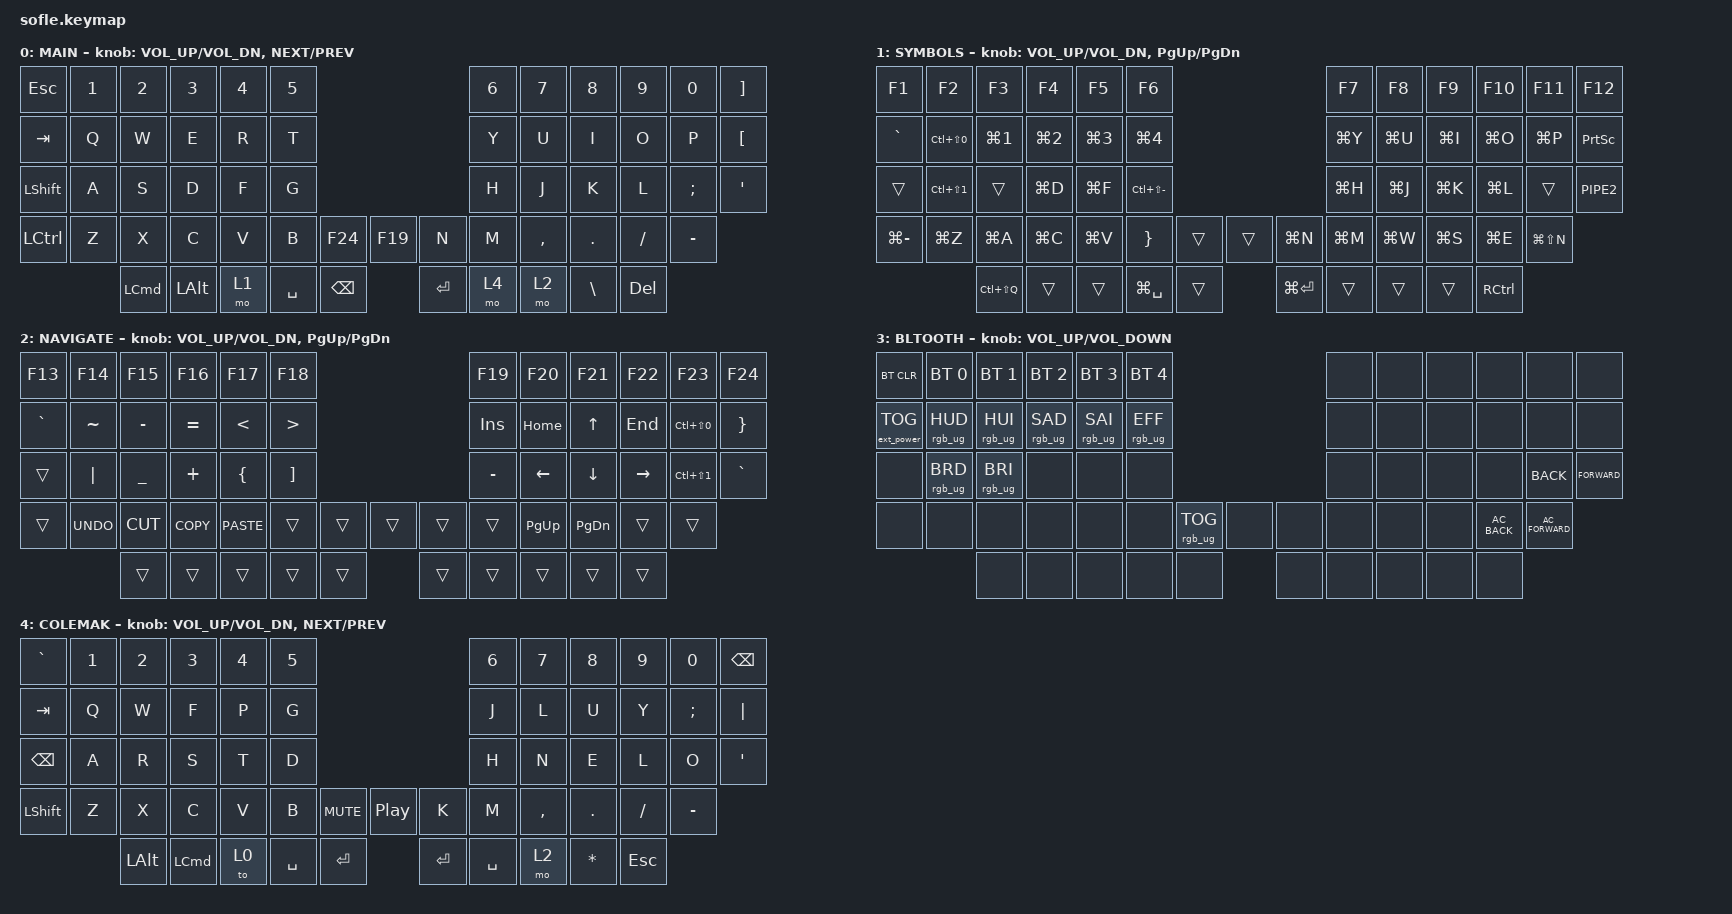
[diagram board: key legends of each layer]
/*
 * Copyright (c) 2020 The ZMK Contributors
 *
 * SPDX-License-Identifier: MIT
 */

#include <behaviors.dtsi>
#include <dt-bindings/zmk/bt.h>
#include <dt-bindings/zmk/ext_power.h>
#include <dt-bindings/zmk/keys.h>
#include <dt-bindings/zmk/rgb.h>

#define BASE 0
#define LOWER 1
#define RAISE 2
#define ADJUST 3

/ {
    // Activate ADJUST layer by pressing raise and lower

    conditional_layers {
        compatible = "zmk,conditional-layers";

        adjust_layer {
            if-layers = <1 2>;
            then-layer = <3>;
        };
    };

    keymap {
        compatible = "zmk,keymap";

        MAIN {
            display-name = "MAIN";

            // ------------------------------------------------------------------------------------------------------------
            // |   `   |  1  |  2  |  3   |  4   |  5   |                   |  6   |  7    |  8    |  9   |   0   |       |
            // |  ESC  |  Q  |  W  |  E   |  R   |  T   |                   |  Y   |  U    |  I    |  O   |   P   | BKSPC |
            // |  TAB  |  A  |  S  |  D   |  F   |  G   |                   |  H   |  J    |  K    |  L   |   ;   |   '   |
            // | SHIFT |  Z  |  X  |  C   |  V   |  B   |  MUTE  |  |       |  N   |  M    |  ,    |  .   |   /   | SHIFT |
            //               | GUI | ALT  | CTRL | LOWER|  ENTER |  | SPACE | RAISE| CTRL  | ALT   | GUI  |
            bindings = <
&kp ESCAPE      &kp N1  &kp N2        &kp N3            &kp N4  &kp N5                                     &kp N6     &kp N7  &kp N8         &kp N9     &kp N0    &kp RBKT
&kp TAB         &kp Q   &kp W         &kp E             &kp R   &kp T                                      &kp Y      &kp U   &kp I          &kp O      &kp P     &kp LBKT
&kp LEFT_SHIFT  &kp A   &kp S         &kp D             &kp F   &kp G                                      &kp H      &kp J   &kp K          &kp L      &kp SEMI  &kp SQT
&kp LCTRL       &kp Z   &kp X         &kp C             &kp V   &kp B      &kp F24     &kp F19  &kp N      &kp M   &kp COMMA      &kp DOT    &kp FSLH  &kp MINUS
                        &kp LEFT_COMMAND  &kp LALT  &mo 1   &kp SPACE  &kp BACKSPACE  &kp ENTER         &mo 4  &mo 2   &kp BSLH  &kp DEL
            >;

            sensor-bindings =
                <&inc_dec_kp C_VOL_UP C_VOL_DN>,
                <&inc_dec_kp C_NEXT C_PREV>;
        };

        SYMBOLS {
            display-name = "SYMBOLS";

            // TODO: Some binds are waiting for shifted keycode support.
            // ------------------------------------------------------------------------------------------------------------
            // |       |  F1 |  F2 |  F3  |  F4  |  F5  |                   |  F6  |  F7   |  F8   |  F9  |  F10  |  F11  |
            // |   `   |  1  |  2  |  3   |  4   |  5   |                   |  6   |  7    |  8    |  9   |   0   |  F12  |
            // |       |  !  |  @  |  #   |  $   |  %   |                   |  ^   |  &    |  *    |  (   |   )   |   |   |
            // |       |  =  |  -  |  +   |  {   |  }   |        |  |       |  [   |  ]    |  ;    |  :   |   \   |       |
            //               |     |      |      |      |        |  |       |      |       |       |      |

            bindings = <
&kp F1     &kp F2           &kp F3                &kp F4                 &kp F5     &kp F6                              &kp F7        &kp F8     &kp F9    &kp F10     &kp F11   &kp F12
&kp GRAVE   &kp LC(LS(N0))   &kp LG(N1)        &kp LG(N2)             &kp LG(N3)     &kp LG(N4)                            &kp LG(Y)     &kp LG(U)     &kp LG(I)    &kp LG(O)     &kp LG(P)    &kp PSCRN
&trans  &kp LC(LS(N1))  &trans      &kp LG(D)              &kp LG(F)    &kp LC(LS(MINUS))                     &kp LG(H)     &kp LG(J)  &kp LG(K)    &kp LG(L)     &trans    &kp PIPE2
&kp LG(MINUS)  &kp LG(Z)  &kp LG(A)  &kp LG(C)  &kp LG(V)   &kp RBRC         &trans    &trans   &kp LG(N)      &kp LG(M)   &kp LG(W)  &kp LG(S)  &kp LG(E)  &kp LG(LS(N))
                                &kp LC(LS(Q))   &trans   &trans   &kp LG(SPACE)     &trans                   &kp LG(ENTER)  &trans        &trans     &trans    &kp RCTRL
            >;

            sensor-bindings = <&inc_dec_kp C_VOL_UP C_VOL_DN &inc_dec_kp PG_UP PG_DN>;
        };

//[_RAISE] = LAYOUT(
//        //,------------------------------------------------.                    ,---------------------------------------------------.
//        KC_F13,  KC_F14,  KC_F15,  KC_F16,  KC_F17,  KC_F18,                     KC_F19, KC_F20, KC_F21,  KC_F22,  KC_F23,  KC_F24,
////|------+-------+--------+--------+--------+------|                   |--------+-------+--------+--------+--------+---------|
//KC_GRV, KC_TILD, KC_MINS,  KC_EQL,  KC_LT,   KC_GT,                     KC_INS, KC_HOME, KC_UP, KC_END, LCTL(LSFT(KC_0)), KC_RBRC,
////|------+-------+--------+--------+--------+------|                   |--------+-------+--------+--------+--------+---------|
//_______, KC_PIPE, KC_UNDS,KC_PLUS, KC_LCBR, KC_RCBR,                     KC_MINS, KC_LEFT, KC_DOWN, KC_RIGHT, LCTL(LSFT(KC_1)), KC_GRV,
////|------+-------+--------+--------+--------+------|  ===  |   |  ===  |--------+-------+--------+--------+--------+---------|
//_______,  KC_NO,  KC_NO,  KC_NO,   KC_LPRN,   KC_RPRN, _______,    _______,KC_WH_U, KC_WH_D,KC_PGUP, KC_PGDN, KC_BSLS, KC_TILD,
////|------+-------+--------+--------+--------+------|  ===  |   |  ===  |--------+-------+--------+--------+--------+---------|
//_______, _______, _______, _______, _______,     _______, _______, _______, _______, _______
////            \--------+--------+--------+---------+-------|   |--------+---------+--------+---------+-------/
//),
        NAVIGATE {
            display-name = "NAVIGATE";

            // ------------------------------------------------------------------------------------------------------------
            // |       |      |      |       |       |      |                |      |      |       |      |       |       |
            // |       | INS  | PSCR | GUI   |       |      |                | PGUP |      |   ^   |      |       |       |
            // |       | ALT  | CTRL | SHIFT |       | CAPS |                | PGDN |   <- |   v   |  ->  |  DEL  | BKSPC |
            // |       | UNDO | CUT  | COPY  | PASTE |      |      |  |      |      |      |       |      |       |       |
            //                |      |       |       |      |      |  |      |      |      |       |      |

            bindings = <
&kp F13      &kp F14        &kp F15        &kp F16        &kp F17        &kp F18                          &kp F19     &kp F20    &kp F21    &kp F22     &kp F23   &kp F24
&kp GRAVE      &kp TILDE       &kp MINUS     &kp EQUAL   &kp LT        &kp GT                          &kp INS  &kp HOME    &kp UP    &kp END     &kp LC(LS(N0))   &kp RBRC
&trans      &kp PIPE      &kp UNDER     &kp PLUS     &kp LBRC        &kp RBKT                        &kp MINUS  &kp LEFT  &kp DOWN  &kp RIGHT  &kp LC(LS(N1))  &kp GRAVE
&trans      &kp K_UNDO    &kp K_CUT     &kp K_COPY    &kp K_PASTE   &trans        &trans    &trans  &trans     &trans    &kp PG_UP    &kp PG_DN   &trans     &trans
                          &trans        &trans        &trans        &trans        &trans    &trans  &trans     &trans    &trans    &trans
            >;

            sensor-bindings = <&inc_dec_kp C_VOL_UP C_VOL_DN &inc_dec_kp PG_UP PG_DN>;
        };

        BLTOOTH {
            // ----------------------------------------------------------------------------------------------------------------------------
            // | BTCLR  |  BT1    |  BT2    |   BT3   |   BT4   |   BT5   |                  |      |      |       |      |       |       |
            // | EXTPWR | RGB_HUD | RGB_HUI | RGB_SAD | RGB_SAI | RGB_EFF |                  |      |      |       |      |       |       |
            // |        | RGB_BRD | RGB_BRI |         |         |         |                  |      |      |       |      |       |       |
            // |        |         |         |         |         |         | RGB_TOG | |      |      |      |       |      |       |       |
            //                    |         |         |         |         |         | |      |      |      |       |      |

            display-name = "BLTOOTH";
            bindings = <
&bt BT_CLR         &bt BT_SEL 0     &bt BT_SEL 1     &bt BT_SEL 2     &bt BT_SEL 3     &bt BT_SEL 4                               &none  &none  &none  &none  &none          &none
&ext_power EP_TOG  &rgb_ug RGB_HUD  &rgb_ug RGB_HUI  &rgb_ug RGB_SAD  &rgb_ug RGB_SAI  &rgb_ug RGB_EFF                            &none  &none  &none  &none  &none          &none
&none              &rgb_ug RGB_BRD  &rgb_ug RGB_BRI  &none            &none            &none                                      &none  &none  &none  &none  &kp K_BACK     &kp K_FORWARD
&none              &none            &none            &none            &none            &none            &rgb_ug RGB_TOG    &none  &none  &none  &none  &none  &kp C_AC_BACK  &kp C_AC_FORWARD
                                    &none            &none            &none            &none            &none              &none  &none  &none  &none  &none
            >;

            sensor-bindings = <&inc_dec_kp K_VOLUME_UP C_VOLUME_DOWN>;
        };

        COLEMAK {
            display-name = "COLEMAK";

            // ------------------------------------------------------------------------------------------------------------
            // |   `   |  1  |  2  |  3   |  4   |  5   |                   |  6   |  7    |  8    |  9   |   0   |       |
            // |  ESC  |  Q  |  W  |  E   |  R   |  T   |                   |  Y   |  U    |  I    |  O   |   P   | BKSPC |
            // |  TAB  |  A  |  S  |  D   |  F   |  G   |                   |  H   |  J    |  K    |  L   |   ;   |   '   |
            // | SHIFT |  Z  |  X  |  C   |  V   |  B   |  MUTE  |  |       |  N   |  M    |  ,    |  .   |   /   | SHIFT |
            //               | GUI | ALT  | CTRL | LOWER|  ENTER |  | SPACE | RAISE| CTRL  | ALT   | GUI  |

            bindings = <
&kp GRAVE       &kp N1  &kp N2        &kp N3            &kp N4  &kp N5                                     &kp N6     &kp N7  &kp N8         &kp N9     &kp N0    &kp BACKSPACE
&kp TAB         &kp Q   &kp W         &kp F             &kp P   &kp G                                      &kp J      &kp L   &kp U          &kp Y      &kp SEMI  &kp PIPE
&kp BACKSPACE   &kp A   &kp R         &kp S             &kp T   &kp D                                      &kp H      &kp N   &kp E          &kp L      &kp O     &kp SQT
&kp LEFT_SHIFT  &kp Z   &kp X         &kp C             &kp V   &kp B      &kp C_MUTE    &kp C_PLAY_PAUSE  &kp K      &kp M   &kp COMMA      &kp DOT    &kp FSLH  &kp MINUS
                        &kp LEFT_ALT  &kp LEFT_COMMAND  &to 0   &kp SPACE  &kp ENTER     &kp ENTER         &kp SPACE  &mo 2   &kp ASTRK      &kp ESCAPE
            >;

            sensor-bindings =
                <&inc_dec_kp C_VOL_UP C_VOL_DN>,
                <&inc_dec_kp C_NEXT C_PREV>;
        };
    };
};
